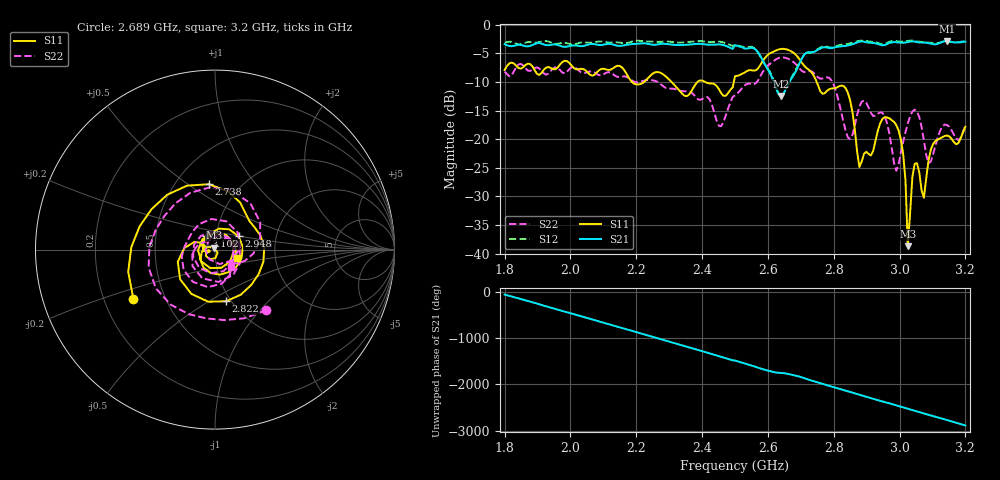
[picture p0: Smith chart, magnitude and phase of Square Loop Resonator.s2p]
! 1/7/2014 4:10:04 PM
! C:\USERS\VECTORSTARUSER\DESKTOP\GABRIEL SMS\0-GRAUS.S2P
! CHANNEL.1
! TR.MEASUREMENT
! RAW.DATA
# GHZ S RI R 50.0
! FREQ.GHZ  S11RE  S11IM  S21RE  S21IM  S12RE  S12IM  S22RE  S22IM
!; PortSelection: Port_12
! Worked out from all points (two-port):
!   201 points, 1.8 GHz to 3.2 GHz, reference 50 ohm
!   highest |S21| = -2.85 dB at 3.144 GHz (marker M1); lowest = -12.5 dB at 2.64 GHz (marker M2)
!   |S21| within 3 dB of the highest: start of sweep to 2.581 GHz; 2.704 GHz to end of sweep
!   lowest |S11| = -38.7 dB at 3.025 GHz (marker M3), VSWR 1.02, Z = 49.6 + j1.08 ohm
!   |S11| at or under -10 dB: 2.307 GHz to 2.386 GHz (78.64 MHz wide, 3.35 % of centre); 2.41 GHz to 2.496 GHz (86.13 MHz wide, 3.51 % of centre); 2.748 GHz to end of sweep (the widest 3 of 4)
!   |S22| runs from -25.5 to -5.7 dB; largest |S21 - S12| = 0.2
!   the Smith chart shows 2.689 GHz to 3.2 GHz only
!   S11 on the Smith chart (normalised r, x): 2.689 GHz: 0.33, -0.25; 2.738 GHz: 0.72, +0.61; 2.822 GHz: 0.95, -0.60; 2.948 GHz: 1.28, +0.20; 3.102 GHz: 0.89, +0.14; 3.2 GHz: 1.27, -0.12
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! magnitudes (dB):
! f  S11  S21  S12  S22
! 1.8 GHz  -7.9  -3.4  -3.1  -8.2
! 2.038 GHz  -7.7  -3.7  -3.1  -8.4
! 2.269 GHz  -8.3  -3.4  -3.0  -10.1
! 2.416 GHz  -10.2  -3.5  -3.0  -12.6
! 2.451 GHz  -11.2  -3.4  -2.9  -17.7
! 2.5 GHz  -9.0  -3.6  -3.5  -12.3
! 2.64 GHz  -4.2  -12.5  -12.5  -5.7
! 2.689 GHz  -5.5  -7.6  -7.4  -7.1
! 2.738 GHz  -8.7  -4.8  -4.7  -8.3
! 2.822 GHz  -10.6  -3.7  -3.5  -15.1
! 2.85 GHz  -13.2  -3.5  -3.2  -19.9
! 2.878 GHz  -24.9  -2.9  -2.8  -14.3
! 2.948 GHz  -16.4  -3.6  -3.4  -15.4
! 2.969 GHz  -16.3  -3.1  -3.0  -19.0
! 2.99 GHz  -17.5  -3.1  -2.9  -25.5
! 3.011 GHz  -22.6  -3.1  -2.9  -20.4
! 3.025 GHz  -38.7  -3.0  -2.8  -17.3
! 3.046 GHz  -24.3  -2.9  -2.8  -14.8
! 3.074 GHz  -30.2  -3.1  -3.1  -20.2
! 3.102 GHz  -20.8  -3.4  -3.2  -22.6
! 3.144 GHz  -19.4  -2.9  -3.0  -17.5
! 3.2 GHz  -17.8  -2.9  -2.9  -17.5
